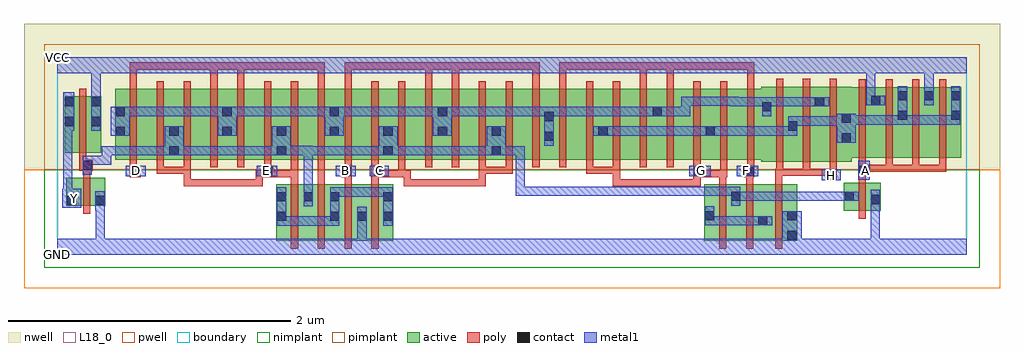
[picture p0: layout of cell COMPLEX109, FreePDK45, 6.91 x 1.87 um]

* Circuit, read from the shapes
.subckt COMPLEX109 A B C D E F G GND H VCC Y
M1 GND n1 Y VSUBS nfet w=0.2u l=0.05u
M2 n1 E n2 VSUBS nfet w=0.4u l=0.05u
M3 n2 D n1 VSUBS nfet w=0.4u l=0.05u
M4 GND B n2 VSUBS nfet w=0.4u l=0.05u
M5 n2 C GND VSUBS nfet w=0.4u l=0.05u
M6 n1 G n3 VSUBS nfet w=0.4u l=0.05u
M7 n3 F n1 VSUBS nfet w=0.4u l=0.05u
M8 GND H n3 VSUBS nfet w=0.4u l=0.05u
M9 GND A n1 VSUBS nfet w=0.2u l=0.05u
M10 VCC n1 Y n4 pfet w=0.4u l=0.05u
M11 n5 D n6 n4 pfet w=0.5u l=0.05u
M12 n1 E n5 n4 pfet w=0.5u l=0.05u
M13 n7 E n1 n4 pfet w=0.5u l=0.05u
M14 n6 D n7 n4 pfet w=0.5u l=0.05u
M15 n8 D n6 n4 pfet w=0.5u l=0.05u
M16 n1 E n8 n4 pfet w=0.5u l=0.05u
M17 n9 E n1 n4 pfet w=0.5u l=0.05u
M18 n6 D n9 n4 pfet w=0.5u l=0.05u
M19 n10 B n6 n4 pfet w=0.5u l=0.05u
M20 n1 C n10 n4 pfet w=0.5u l=0.05u
M21 n11 C n1 n4 pfet w=0.5u l=0.05u
M22 n6 B n11 n4 pfet w=0.5u l=0.05u
M23 n12 B n6 n4 pfet w=0.5u l=0.05u
M24 n1 C n12 n4 pfet w=0.5u l=0.05u
M25 n13 C n1 n4 pfet w=0.5u l=0.05u
M26 n6 B n13 n4 pfet w=0.5u l=0.05u
M27 n14 F n6 n4 pfet w=0.5u l=0.05u
M28 n15 G n14 n4 pfet w=0.5u l=0.05u
M29 n16 G n15 n4 pfet w=0.5u l=0.05u
M30 n6 F n16 n4 pfet w=0.5u l=0.05u
M31 n17 F n6 n4 pfet w=0.5u l=0.05u
M32 n15 G n17 n4 pfet w=0.5u l=0.05u
M33 n18 G n15 n4 pfet w=0.5u l=0.05u
M34 n6 F n18 n4 pfet w=0.5u l=0.05u
M35 n15 H n6 n4 pfet w=0.532u l=0.05u m=3
M36 VCC A n15 n4 pfet w=0.5u l=0.05u m=4
.ends

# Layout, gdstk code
import gdstk
lib = gdstk.Library(unit=1e-6, precision=1e-09)
def R(c, l, rs):  # rectangles x0, y0, x1, y1
    for r in rs: c.add(gdstk.rectangle(r[:2], r[2:], *l))
def A(c, l, x, y, w, h, nx, ny, dx, dy):  # array of equal rectangles
    R(c, l, [(x+i*dx, y+j*dy, x+i*dx+w, y+j*dy+h) for i in range(nx) for j in range(ny)])
active = (1, 0)
pwell = (2, 0)
nwell = (3, 0)
nimplant = (4, 0)
pimplant = (5, 0)
poly = (9, 0)
contact = (10, 0)
metal1 = (11, 0)
L18_0 = (18, 0)
boundary = (235, 0)

complex109 = lib.new_cell('COMPLEX109')
R(complex109, active, [(1.55,0.1,1.815,0.5), (1.74,0.1,2.002,0.5), (1.927,0.1,2.195,0.5), (2.12,0.1,2.38,0.5), (2.12,0.1,2.195,0.492), (4.582,0.1,4.842,0.5), (4.767,0.1,5.032,0.5), (4.957,0.1,5.24,0.5), (5.165,0.1,5.24,0.5), (1.55,0.147,1.625,0.5), (1.74,0.147,1.815,0.5), (1.927,0.147,2.002,0.492), (2.305,0.147,2.38,0.5), (4.582,0.147,4.657,0.5), (4.767,0.147,4.842,0.492), (4.957,0.147,5.032,0.492), (5.57,0.312,5.83,0.512), (0.065,0.347,0.14,0.547), (0.065,0.347,0.34,0.547), (0.265,0.347,0.34,0.547), (5.57,0.347,5.645,0.512), (5.755,0.347,5.83,0.512), (4.985,0.66,5.245,1.192), (5.17,0.66,5.435,1.192), (5.17,0.66,5.245,1.07), (5.36,0.66,5.625,1.192), (5.36,0.66,5.435,1.19), (0.41,0.675,0.635,1.175), (0.41,0.675,0.485,1.157), (0.635,0.675,0.865,1.175), (0.79,0.675,0.865,1.07), (0.79,0.675,1.015,1.175), (1.015,0.675,1.24,1.175), (1.165,0.675,1.395,1.175), (1.165,0.675,1.24,1.157), (1.395,0.675,1.625,1.175), (1.55,0.675,1.625,1.07), (1.55,0.675,1.775,1.175), (1.775,0.675,2,1.175), (1.925,0.675,2.155,1.175), (2.155,0.675,2.38,1.175), (2.305,0.675,2.535,1.175), (2.305,0.675,2.38,1.07), (2.535,0.675,2.765,1.175), (2.69,0.675,2.915,1.175), (2.69,0.675,2.765,1.157), (2.915,0.675,3.145,1.175), (3.07,0.675,3.145,1.07), (3.07,0.675,3.295,1.175), (3.295,0.675,3.52,1.175), (3.445,0.675,3.675,1.175), (3.445,0.675,3.52,1.157), (3.675,0.675,3.902,1.175), (3.827,0.675,3.902,1.07), (3.827,0.675,4.055,1.175), (4.055,0.675,4.285,1.175), (4.21,0.675,4.435,1.175), (4.21,0.675,4.285,1.157), (4.435,0.675,4.66,1.175), (4.585,0.675,4.815,1.175), (4.585,0.675,4.66,1.07), (4.815,0.675,5.06,1.175), (5.55,0.687,5.832,1.187), (5.55,0.687,5.625,1.157), (5.757,0.687,6.022,1.187), (5.757,0.687,5.832,1.187), (5.947,0.687,6.21,1.187), (5.947,0.687,6.022,1.187), (6.135,0.687,6.4,1.187), (6.325,0.687,6.4,1.165), (0.052,0.722,0.127,1.122), (0.052,0.722,0.312,1.122), (0.237,0.722,0.312,1.122), (4.985,0.775,5.06,1.167), (1.925,0.802,2,1.167), (6.135,0.807,6.21,1.165)])
R(complex109, pwell, [(-0.235,-0.235,6.675,0.602)])
R(complex109, nwell, [(-0.235,0.602,6.675,1.635)])
R(complex109, nimplant, [(-0.09,-0.09,6.53,0.602)])
R(complex109, pimplant, [(-0.09,0.602,6.53,1.49)])
A(complex109, poly, 1.655, 0.045, 0.05, 0.51, 4, 1, 0.19, 0)
A(complex109, poly, 1.655, 0.505, 0.05, 0.095, 4, 1, 0.19, 0)
A(complex109, poly, 5.09, 0.56, 0.05, 0.095, 3, 1, 0.19, 0)
A(complex109, poly, 0.515, 0.575, 0.05, 0.095, 3, 1, 0.19, 0)
A(complex109, poly, 5.675, 0.587, 0.05, 0.095, 4, 1, 0.19, 0)
A(complex109, poly, 5.09, 0.605, 0.05, 0.642, 3, 1, 0.19, 0)
A(complex109, poly, 0.515, 0.62, 0.05, 0.61, 24, 1, 0.19, 0)
A(complex109, poly, 5.675, 0.632, 0.05, 0.61, 4, 1, 0.19, 0)
R(complex109, poly, [(4.687,0.045,4.737,0.555), (4.877,0.045,4.927,0.555), (5.085,0.045,5.135,0.555), (5.675,0.257,5.725,0.567), (0.185,0.292,0.235,0.602), (0.895,0.487,1.135,0.537), (0.895,0.487,0.945,0.625), (1.085,0.487,1.135,0.537), (1.085,0.487,1.135,0.537), (1.085,0.487,1.135,0.537), (1.085,0.487,1.267,0.537), (1.217,0.487,1.267,0.537), (1.217,0.487,1.267,0.537), (1.217,0.487,1.267,0.537), (1.217,0.487,1.457,0.537), (1.407,0.487,1.457,0.6), (2.452,0.487,2.502,0.6), (2.452,0.487,2.712,0.537), (2.662,0.487,2.712,0.537), (2.662,0.487,2.77,0.537), (2.72,0.487,2.77,0.537), (2.72,0.487,2.902,0.537), (2.852,0.487,2.902,0.537), (2.852,0.487,2.902,0.537), (2.852,0.487,2.902,0.537), (2.852,0.487,3.035,0.537), (2.985,0.487,3.035,0.625), (3.935,0.487,3.985,0.537), (3.935,0.487,3.985,0.537), (3.935,0.487,4.117,0.537), (3.935,0.487,3.985,0.625), (4.067,0.487,4.117,0.537), (4.067,0.487,4.307,0.537), (4.257,0.487,4.307,0.537), (4.257,0.487,4.307,0.537), (4.257,0.487,4.307,0.537), (4.257,0.487,4.555,0.537), (4.505,0.487,4.555,0.6), (4.687,0.505,4.737,0.6), (4.877,0.505,4.927,0.6), (5.085,0.505,5.135,0.61), (5.675,0.517,5.725,0.612), (5.442,0.535,5.52,0.61), (0.515,0.55,0.59,0.625), (1.407,0.55,1.502,0.6), (1.452,0.55,1.53,0.625), (1.48,0.55,1.59,0.6), (1.54,0.55,1.59,0.6), (1.54,0.55,1.705,0.6), (1.655,0.55,1.705,0.6), (1.655,0.55,1.705,0.67), (1.845,0.55,1.895,0.6), (1.845,0.55,1.895,0.67), (2.01,0.55,2.085,0.625), (2.225,0.55,2.317,0.625), (2.267,0.55,2.317,0.6), (2.267,0.55,2.317,0.6), (2.267,0.55,2.465,0.6), (2.415,0.55,2.465,0.6), (2.415,0.55,2.465,0.67), (2.415,0.55,2.502,0.6), (4.505,0.55,4.555,0.6), (4.505,0.55,4.58,0.625), (4.53,0.55,4.737,0.6), (4.687,0.55,4.737,0.6), (4.687,0.55,4.737,0.6), (4.687,0.55,4.745,0.6), (4.695,0.55,4.745,0.67), (4.86,0.55,4.935,0.625), (0.185,0.552,0.235,0.647), (5.085,0.56,5.14,0.61), (5.09,0.56,5.14,0.61), (5.09,0.56,5.14,0.61), (5.09,0.56,5.33,0.61), (5.28,0.56,5.33,0.61), (5.28,0.56,5.33,0.61), (5.28,0.56,5.33,0.61), (5.28,0.56,5.492,0.61), (5.675,0.562,5.75,0.637), (0.705,0.575,0.755,0.625), (0.705,0.575,0.755,0.625), (0.705,0.575,0.755,0.625), (0.705,0.575,0.945,0.625), (1.465,0.575,1.515,0.67), (2.035,0.575,2.085,0.67), (2.225,0.575,2.275,0.67), (2.985,0.575,3.035,0.67), (2.985,0.575,3.225,0.625), (3.175,0.575,3.225,0.67), (3.175,0.575,3.225,0.625), (3.175,0.575,3.225,0.625), (3.175,0.575,3.225,0.625), (3.745,0.575,3.795,0.67), (3.745,0.575,3.795,0.625), (3.745,0.575,3.795,0.625), (3.745,0.575,3.795,0.625), (3.745,0.575,3.985,0.625), (3.935,0.575,3.985,0.67), (4.505,0.575,4.555,0.67), (4.885,0.575,4.935,0.67), (5.7,0.587,5.915,0.637), (5.865,0.587,5.915,0.637), (5.865,0.587,5.915,0.637), (5.865,0.587,5.915,0.637), (5.865,0.587,6.105,0.637), (6.055,0.587,6.105,0.637), (6.055,0.587,6.105,0.637), (6.055,0.587,6.105,0.637), (6.055,0.587,6.295,0.637), (6.245,0.587,6.295,0.637), (6.245,0.587,6.295,0.637), (6.245,0.587,6.295,0.637), (0.157,0.597,0.25,0.672), (0.157,0.622,0.207,0.717), (0.157,0.667,0.207,1.177), (0.515,1.18,0.565,1.362), (1.085,1.18,1.135,1.362), (1.275,1.18,1.325,1.362), (1.845,1.18,1.895,1.362), (2.035,1.18,2.085,1.362), (2.605,1.18,2.655,1.362), (2.795,1.18,2.845,1.362), (3.365,1.18,3.415,1.362), (3.555,1.18,3.605,1.362), (4.125,1.18,4.175,1.362), (4.315,1.18,4.365,1.362), (4.885,1.18,4.935,1.362), (0.515,1.312,0.565,1.362), (0.515,1.312,0.565,1.362), (0.515,1.312,0.565,1.362), (0.515,1.312,0.722,1.362), (0.672,1.312,0.722,1.362), (0.672,1.312,0.722,1.362), (0.672,1.312,0.722,1.362), (0.672,1.312,1.002,1.362), (0.952,1.312,1.002,1.362), (0.952,1.312,1.002,1.362), (0.952,1.312,1.002,1.362), (0.952,1.312,1.135,1.362), (1.085,1.312,1.135,1.362), (1.085,1.312,1.267,1.362), (1.217,1.312,1.267,1.362), (1.217,1.312,1.325,1.362), (1.275,1.312,1.325,1.362), (1.275,1.312,1.4,1.362), (1.35,1.312,1.4,1.362), (1.35,1.312,1.572,1.362), (1.522,1.312,1.572,1.362), (1.522,1.312,1.59,1.362), (1.54,1.312,1.59,1.362), (1.54,1.312,1.705,1.362), (1.655,1.312,1.705,1.362), (1.655,1.312,1.895,1.362), (1.845,1.312,1.895,1.362), (1.845,1.312,1.895,1.362), (1.845,1.312,1.895,1.362), (2.035,1.312,2.085,1.362), (2.035,1.312,2.085,1.362), (2.035,1.312,2.085,1.362), (2.035,1.312,2.332,1.362), (2.282,1.312,2.332,1.362), (2.282,1.312,2.332,1.362), (2.282,1.312,2.332,1.362), (2.282,1.312,2.465,1.362), (2.415,1.312,2.465,1.362), (2.415,1.312,2.637,1.362), (2.587,1.312,2.637,1.362), (2.587,1.312,2.655,1.362), (2.605,1.312,2.655,1.362), (2.605,1.312,2.77,1.362), (2.72,1.312,2.77,1.362), (2.72,1.312,2.845,1.362), (2.795,1.312,2.845,1.362), (2.795,1.312,2.96,1.362), (2.91,1.312,2.96,1.362), (2.91,1.312,3.092,1.362), (3.042,1.312,3.092,1.362), (3.042,1.312,3.092,1.362), (3.042,1.312,3.092,1.362), (3.042,1.312,3.225,1.362), (3.175,1.312,3.225,1.362), (3.175,1.312,3.415,1.362), (3.365,1.312,3.415,1.362), (3.365,1.312,3.415,1.362), (3.365,1.312,3.415,1.362), (3.555,1.312,3.605,1.362), (3.555,1.312,3.605,1.362), (3.555,1.312,3.605,1.362), (3.555,1.312,3.795,1.362), (3.745,1.312,3.795,1.362), (3.745,1.312,3.795,1.362), (3.745,1.312,3.795,1.362), (3.745,1.312,3.927,1.362), (3.877,1.312,3.927,1.362), (3.877,1.312,3.927,1.362), (3.877,1.312,3.927,1.362), (3.877,1.312,4.175,1.362), (4.125,1.312,4.175,1.362), (4.125,1.312,4.175,1.362), (4.125,1.312,4.175,1.362), (4.125,1.312,4.365,1.362), (4.315,1.312,4.365,1.362), (4.315,1.312,4.497,1.362), (4.447,1.312,4.497,1.362), (4.447,1.312,4.497,1.362), (4.447,1.312,4.497,1.362), (4.447,1.312,4.712,1.362), (4.662,1.312,4.712,1.362), (4.662,1.312,4.712,1.362), (4.662,1.312,4.712,1.362), (4.662,1.312,4.935,1.362), (4.885,1.312,4.935,1.362), (4.885,1.312,4.935,1.362), (4.885,1.312,4.935,1.362)])
R(complex109, contact, [(5.17,0.105,5.235,0.17), (4.962,0.21,5.027,0.275), (1.555,0.24,1.62,0.305), (1.932,0.24,1.997,0.305), (2.125,0.24,2.19,0.305), (2.31,0.24,2.375,0.305), (4.587,0.245,4.652,0.31), (5.17,0.245,5.235,0.31), (0.07,0.352,0.135,0.417), (0.27,0.352,0.335,0.417), (5.76,0.36,5.825,0.425), (1.555,0.38,1.62,0.445), (1.745,0.38,1.81,0.445), (1.932,0.38,1.997,0.445), (2.31,0.38,2.375,0.445), (4.772,0.382,4.837,0.447), (5.575,0.382,5.64,0.447), (5.447,0.54,5.512,0.605), (0.52,0.555,0.585,0.62), (1.457,0.555,1.522,0.62), (2.015,0.555,2.08,0.62), (2.247,0.555,2.312,0.62), (4.51,0.555,4.575,0.62), (4.865,0.555,4.93,0.62), (5.68,0.567,5.745,0.632), (0.18,0.602,0.245,0.667), (0.795,0.705,0.86,0.77), (1.555,0.705,1.62,0.77), (2.31,0.705,2.375,0.77), (3.075,0.705,3.14,0.77), (5.555,0.795,5.62,0.86), (3.45,0.807,3.515,0.872), (0.415,0.842,0.48,0.907), (1.17,0.842,1.235,0.907), (1.93,0.842,1.995,0.907), (2.695,0.842,2.76,0.907), (0.795,0.845,0.86,0.91), (1.555,0.845,1.62,0.91), (2.31,0.845,2.375,0.91), (3.075,0.845,3.14,0.91), (3.832,0.845,3.897,0.91), (4.59,0.845,4.655,0.91), (5.175,0.88,5.24,0.945), (0.057,0.912,0.122,0.977), (0.242,0.912,0.307,0.977), (5.555,0.935,5.62,1), (3.45,0.947,3.515,1.012), (5.952,0.955,6.017,1.02), (6.33,0.955,6.395,1.02), (0.415,0.982,0.48,1.047), (1.17,0.982,1.235,1.047), (1.93,0.982,1.995,1.047), (2.695,0.982,2.76,1.047), (4.215,0.982,4.28,1.047), (4.99,1.017,5.055,1.082), (0.057,1.052,0.122,1.117), (0.242,1.052,0.307,1.117), (5.365,1.052,5.43,1.117), (5.762,1.06,5.827,1.125), (5.952,1.095,6.017,1.16), (6.14,1.095,6.205,1.16), (6.33,1.095,6.395,1.16)])
R(complex109, metal1, [(0,0,6.44,0.115), (0.272,0.05,0.337,0.115), (0.272,0.05,0.337,0.115), (0.272,0.05,0.337,0.115), (0.272,0.05,0.337,0.115), (0.272,0.05,0.337,0.382), (2.125,0.05,2.19,0.27), (5.205,0.05,5.27,0.17), (5.76,0.05,5.825,0.115), (5.76,0.05,5.825,0.115), (5.76,0.05,5.825,0.39), (5.135,0.105,5.27,0.31), (1.555,0.205,1.622,0.48), (1.932,0.205,1.997,0.48), (2.125,0.205,2.19,0.34), (2.31,0.205,2.375,0.48), (1.557,0.207,1.622,0.272), (1.557,0.207,1.622,0.272), (1.557,0.207,1.792,0.272), (1.727,0.207,1.792,0.272), (1.727,0.207,1.792,0.272), (1.727,0.207,1.792,0.272), (1.727,0.207,1.997,0.272), (4.587,0.21,4.652,0.275), (4.587,0.21,4.652,0.275), (4.587,0.21,4.652,0.345), (4.587,0.21,4.827,0.275), (4.762,0.21,4.827,0.275), (4.762,0.21,4.827,0.275), (4.762,0.21,4.827,0.275), (4.762,0.21,4.992,0.275), (4.927,0.21,5.062,0.275), (0.27,0.317,0.337,0.452), (5.76,0.325,5.825,0.39), (5.76,0.325,5.825,0.39), (5.76,0.325,5.825,0.46), (0.035,0.332,0.17,0.467), (1.745,0.345,1.81,0.48), (4.772,0.347,4.837,0.482), (4.772,0.382,4.837,0.447), (4.772,0.382,4.837,0.447), (4.772,0.382,5.055,0.447), (4.99,0.382,5.055,0.447), (4.99,0.382,5.055,0.447), (4.99,0.382,5.055,0.447), (4.99,0.382,5.24,0.447), (5.175,0.382,5.24,0.447), (5.175,0.382,5.24,0.447), (5.175,0.382,5.24,0.447), (5.175,0.382,5.407,0.447), (5.342,0.382,5.407,0.447), (5.342,0.382,5.407,0.447), (5.342,0.382,5.407,0.447), (5.342,0.382,5.605,0.447), (5.54,0.382,5.675,0.447), (0.042,0.402,0.107,0.942), (1.932,0.412,1.997,0.477), (1.932,0.412,1.997,0.477), (1.932,0.412,2.202,0.477), (2.137,0.412,2.202,0.477), (2.137,0.412,2.202,0.477), (2.137,0.412,2.202,0.477), (2.137,0.412,2.375,0.477), (1.745,0.415,1.81,0.48), (1.745,0.415,1.81,0.48), (1.745,0.415,1.81,0.77), (3.247,0.417,3.312,0.482), (3.247,0.417,3.45,0.482), (3.247,0.417,3.312,0.77), (3.385,0.417,3.45,0.482), (3.385,0.417,3.45,0.482), (3.385,0.417,3.45,0.482), (3.385,0.417,3.45,0.482), (3.385,0.417,3.45,0.482), (3.385,0.417,3.652,0.482), (3.587,0.417,3.652,0.482), (3.587,0.417,3.652,0.482), (3.587,0.417,3.652,0.482), (3.587,0.417,3.79,0.482), (3.725,0.417,3.79,0.482), (3.725,0.417,3.927,0.482), (3.862,0.417,3.927,0.482), (3.862,0.417,3.927,0.482), (3.862,0.417,3.927,0.482), (3.862,0.417,4.07,0.482), (4.005,0.417,4.07,0.482), (4.005,0.417,4.07,0.482), (4.005,0.417,4.07,0.482), (4.005,0.417,4.317,0.482), (4.252,0.417,4.317,0.482), (4.252,0.417,4.345,0.482), (4.28,0.417,4.345,0.482), (4.28,0.417,4.482,0.482), (4.417,0.417,4.482,0.482), (4.417,0.417,4.482,0.482), (4.417,0.417,4.482,0.482), (4.417,0.417,4.69,0.482), (4.625,0.417,4.69,0.482), (4.625,0.417,4.69,0.482), (4.625,0.417,4.69,0.482), (4.625,0.417,4.837,0.482), (5.412,0.527,5.547,0.605), (5.672,0.532,5.752,0.667), (0.485,0.555,0.627,0.632), (1.412,0.555,1.557,0.632), (1.972,0.555,2.115,0.632), (2.212,0.555,2.347,0.632), (4.475,0.555,4.627,0.632), (4.812,0.555,4.965,0.632), (0.18,0.567,0.245,0.702), (0.18,0.637,0.382,0.702), (0.317,0.637,0.382,0.702), (0.317,0.637,0.382,0.77), (0.317,0.705,0.382,0.77), (0.317,0.705,0.382,0.77), (0.317,0.705,0.382,0.77), (0.317,0.705,0.652,0.77), (0.587,0.705,0.652,0.77), (0.587,0.705,0.652,0.77), (0.587,0.705,0.652,0.77), (0.587,0.705,0.825,0.77), (0.76,0.705,0.825,0.77), (0.76,0.705,0.825,0.77), (0.76,0.705,0.895,0.91), (0.83,0.705,0.995,0.77), (0.93,0.705,0.995,0.77), (0.93,0.705,1.032,0.77), (0.967,0.705,1.032,0.77), (0.967,0.705,1.132,0.77), (1.067,0.705,1.132,0.77), (1.067,0.705,1.27,0.77), (1.205,0.705,1.27,0.77), (1.205,0.705,1.27,0.77), (1.205,0.705,1.27,0.77), (1.205,0.705,1.407,0.77), (1.342,0.705,1.407,0.77), (1.342,0.705,1.407,0.77), (1.342,0.705,1.407,0.77), (1.342,0.705,1.585,0.77), (1.52,0.705,1.655,0.91), (1.745,0.705,1.81,0.77), (1.745,0.705,1.81,0.77), (1.745,0.705,1.947,0.77), (1.745,0.705,1.81,0.772), (1.882,0.705,1.947,0.77), (1.882,0.705,1.947,0.77), (1.882,0.705,1.947,0.77), (1.882,0.705,2.202,0.77), (2.137,0.705,2.202,0.77), (2.137,0.705,2.202,0.77), (2.137,0.705,2.202,0.77), (2.137,0.705,2.34,0.77), (2.275,0.705,2.41,0.91), (2.345,0.705,2.477,0.77), (2.412,0.705,2.477,0.77), (2.412,0.705,2.547,0.77), (2.482,0.705,2.547,0.77), (2.482,0.705,2.685,0.77), (2.62,0.705,2.685,0.77), (2.62,0.705,2.685,0.77), (2.62,0.705,2.685,0.77), (2.62,0.705,2.822,0.77), (2.757,0.705,2.822,0.77), (2.757,0.705,2.967,0.77), (2.902,0.705,2.967,0.77), (2.902,0.705,2.967,0.77), (2.902,0.705,2.967,0.77), (2.902,0.705,3.105,0.77), (3.04,0.705,3.175,0.91), (3.11,0.705,3.312,0.77), (3.247,0.705,3.312,0.77), (3.247,0.705,3.312,0.77), (3.247,0.705,3.312,0.77), (1.59,0.707,1.655,0.772), (1.59,0.707,1.655,0.772), (1.59,0.707,1.81,0.772), (3.45,0.772,3.515,1.047), (5.52,0.795,5.655,1), (0.38,0.842,0.515,1.047), (1.135,0.842,1.27,1.047), (1.895,0.842,2.03,1.047), (2.66,0.842,2.795,1.047), (3.797,0.845,3.932,0.91), (3.867,0.845,3.932,0.91), (3.867,0.845,3.932,0.91), (3.867,0.845,4.07,0.91), (4.005,0.845,4.07,0.91), (4.005,0.845,4.207,0.91), (4.142,0.845,4.207,0.91), (4.142,0.845,4.207,0.91), (4.142,0.845,4.207,0.91), (4.142,0.845,4.345,0.91), (4.28,0.845,4.345,0.91), (4.28,0.845,4.455,0.91), (4.39,0.845,4.455,0.91), (4.39,0.845,4.515,0.91), (4.45,0.845,4.515,0.91), (4.45,0.845,4.62,0.91), (4.555,0.845,4.69,0.91), (4.625,0.845,4.69,0.91), (4.625,0.845,4.69,0.91), (4.625,0.845,4.855,0.91), (4.79,0.845,4.855,0.91), (4.79,0.845,4.855,0.91), (4.79,0.845,4.855,0.91), (4.79,0.845,5.062,0.91), (4.997,0.845,5.062,0.91), (4.997,0.845,5.062,0.91), (4.997,0.845,5.062,0.91), (4.997,0.845,5.24,0.91), (5.175,0.845,5.24,0.98), (0.042,0.877,0.122,1.152), (0.042,0.877,0.107,0.972), (0.242,0.877,0.307,1.152), (0.042,0.907,0.107,0.972), (5.175,0.915,5.24,0.98), (5.175,0.915,5.24,0.98), (5.175,0.915,5.377,0.98), (5.312,0.915,5.377,0.98), (5.312,0.915,5.377,0.98), (5.312,0.915,5.377,0.98), (5.312,0.915,5.585,0.98), (5.952,0.92,6.017,1.195), (6.33,0.92,6.395,1.195), (5.59,0.922,5.655,0.987), (5.59,0.922,5.655,0.987), (5.59,0.922,5.88,0.987), (5.815,0.922,5.88,0.987), (5.815,0.922,5.88,0.987), (5.815,0.922,5.88,0.987), (5.815,0.922,6.017,0.987), (5.952,0.922,6.017,0.987), (5.952,0.922,6.017,0.987), (5.952,0.922,6.155,0.987), (6.09,0.922,6.155,0.987), (6.09,0.922,6.395,0.987), (6.33,0.922,6.395,0.987), (6.33,0.922,6.395,0.987), (0.45,0.982,0.667,1.047), (0.602,0.982,0.667,1.047), (0.602,0.982,0.667,1.047), (0.602,0.982,0.667,1.047), (0.602,0.982,0.857,1.047), (0.792,0.982,0.857,1.047), (0.792,0.982,0.857,1.047), (0.792,0.982,0.857,1.047), (0.792,0.982,0.995,1.047), (0.93,0.982,0.995,1.047), (0.93,0.982,1.032,1.047), (0.967,0.982,1.032,1.047), (0.967,0.982,1.132,1.047), (1.067,0.982,1.132,1.047), (1.067,0.982,1.2,1.047), (1.205,0.982,1.27,1.047), (1.205,0.982,1.27,1.047), (1.205,0.982,1.447,1.047), (1.382,0.982,1.447,1.047), (1.382,0.982,1.447,1.047), (1.382,0.982,1.447,1.047), (1.382,0.982,1.655,1.047), (1.59,0.982,1.655,1.047), (1.59,0.982,1.655,1.047), (1.59,0.982,1.655,1.047), (1.59,0.982,1.792,1.047), (1.727,0.982,1.792,1.047), (1.727,0.982,1.792,1.047), (1.727,0.982,1.792,1.047), (1.727,0.982,1.96,1.047), (1.965,0.982,2.03,1.047), (1.965,0.982,2.03,1.047), (1.965,0.982,2.167,1.047), (2.102,0.982,2.167,1.047), (2.102,0.982,2.34,1.047), (2.275,0.982,2.34,1.047), (2.275,0.982,2.34,1.047), (2.275,0.982,2.34,1.047), (2.275,0.982,2.547,1.047), (2.482,0.982,2.547,1.047), (2.482,0.982,2.547,1.047), (2.482,0.982,2.547,1.047), (2.482,0.982,2.685,1.047), (2.62,0.982,2.685,1.047), (2.62,0.982,2.725,1.047), (2.73,0.982,2.822,1.047), (2.757,0.982,2.822,1.047), (2.757,0.982,2.96,1.047), (2.895,0.982,2.96,1.047), (2.895,0.982,2.96,1.047), (2.895,0.982,2.96,1.047), (2.895,0.982,3.175,1.047), (3.11,0.982,3.175,1.047), (3.11,0.982,3.175,1.047), (3.11,0.982,3.175,1.047), (3.11,0.982,3.312,1.047), (3.247,0.982,3.312,1.047), (3.247,0.982,3.515,1.047), (3.45,0.982,3.515,1.047), (3.45,0.982,3.515,1.047), (3.45,0.982,3.652,1.047), (3.587,0.982,3.652,1.047), (3.587,0.982,3.652,1.047), (3.587,0.982,3.652,1.047), (3.587,0.982,3.79,1.047), (3.725,0.982,3.79,1.047), (3.725,0.982,3.927,1.047), (3.862,0.982,3.927,1.047), (3.862,0.982,3.927,1.047), (3.862,0.982,3.927,1.047), (3.862,0.982,4.07,1.047), (4.005,0.982,4.07,1.047), (4.005,0.982,4.07,1.047), (4.005,0.982,4.07,1.047), (4.005,0.982,4.245,1.047), (4.18,0.982,4.315,1.047), (4.25,0.982,4.345,1.047), (4.28,0.982,4.345,1.047), (4.28,0.982,4.482,1.047), (4.417,0.982,4.482,1.12), (4.99,0.982,5.055,1.117), (4.762,1.052,5.055,1.117), (4.762,1.052,4.827,1.12), (4.99,1.052,5.055,1.117), (4.99,1.052,5.055,1.117), (4.99,1.052,5.24,1.117), (5.175,1.052,5.24,1.117), (5.175,1.052,5.24,1.117), (5.175,1.052,5.24,1.117), (5.175,1.052,5.395,1.117), (5.33,1.052,5.465,1.117), (4.417,1.055,4.482,1.12), (4.417,1.055,4.482,1.12), (4.417,1.055,4.652,1.12), (4.587,1.055,4.652,1.12), (4.587,1.055,4.652,1.12), (4.587,1.055,4.652,1.12), (4.587,1.055,4.827,1.12), (4.762,1.055,4.827,1.12), (4.762,1.055,4.827,1.12), (5.727,1.06,5.792,1.35), (5.727,1.06,5.862,1.125), (6.14,1.06,6.205,1.195), (0.242,1.087,0.307,1.35), (6.14,1.13,6.205,1.35), (0,1.285,6.44,1.4), (0.242,1.285,0.307,1.35), (0.242,1.285,0.307,1.35), (5.727,1.285,5.792,1.35), (5.727,1.285,5.792,1.35), (6.14,1.285,6.205,1.35), (6.14,1.285,6.205,1.35)])
R(complex109, L18_0, [(0,0,6.44,0.115), (0.272,0.05,0.337,0.115), (0.272,0.05,0.337,0.115), (0.272,0.05,0.337,0.115), (0.272,0.05,0.337,0.115), (0.272,0.05,0.337,0.382), (2.125,0.05,2.19,0.27), (5.205,0.05,5.27,0.17), (5.76,0.05,5.825,0.115), (5.76,0.05,5.825,0.115), (5.76,0.05,5.825,0.39), (5.135,0.105,5.27,0.31), (2.125,0.205,2.19,0.34), (0.27,0.317,0.337,0.452), (5.76,0.325,5.825,0.39), (5.76,0.325,5.825,0.39), (5.76,0.325,5.825,0.46), (0.035,0.332,0.17,0.467), (0.087,0.367,0.152,0.432), (0.042,0.402,0.107,0.942), (5.412,0.527,5.547,0.605), (5.447,0.527,5.512,0.592), (5.672,0.532,5.752,0.667), (0.485,0.555,0.627,0.632), (1.412,0.555,1.557,0.632), (1.972,0.555,2.115,0.632), (2.212,0.555,2.347,0.632), (4.475,0.555,4.627,0.632), (4.812,0.555,4.965,0.632), (0.527,0.567,0.592,0.632), (1.447,0.567,1.512,0.632), (2.007,0.567,2.072,0.632), (2.247,0.567,2.312,0.632), (4.527,0.567,4.592,0.632), (4.847,0.567,4.912,0.632), (5.687,0.567,5.752,0.632), (0.042,0.877,0.107,0.972), (0.042,0.877,0.122,1.152), (0.242,0.877,0.307,1.152), (0.042,0.907,0.107,0.972), (5.727,1.06,5.862,1.125), (5.727,1.06,5.792,1.35), (6.14,1.06,6.205,1.195), (0.242,1.087,0.307,1.35), (6.14,1.13,6.205,1.35), (0,1.285,6.44,1.4), (0.242,1.285,0.307,1.35), (0.242,1.285,0.307,1.35), (5.727,1.285,5.792,1.35), (5.727,1.285,5.792,1.35), (6.14,1.285,6.205,1.35), (6.14,1.285,6.205,1.35)])
R(complex109, boundary, [(0,0,6.44,1.4)])
complex109.add(gdstk.Label('A', (5.72,0.6), layer=11, texttype=0))
complex109.add(gdstk.Label('B', (2.04,0.6), layer=11, texttype=0))
complex109.add(gdstk.Label('C', (2.28,0.6), layer=11, texttype=0))
complex109.add(gdstk.Label('D', (0.56,0.6), layer=11, texttype=0))
complex109.add(gdstk.Label('E', (1.48,0.6), layer=11, texttype=0))
complex109.add(gdstk.Label('F', (4.88,0.6), layer=11, texttype=0))
complex109.add(gdstk.Label('G', (4.56,0.6), layer=11, texttype=0))
complex109.add(gdstk.Label('H', (5.48,0.56), layer=11, texttype=0))
complex109.add(gdstk.Label('Y', (0.12,0.4), layer=11, texttype=0))
complex109.add(gdstk.Label('VCC', (0,1.4), layer=11, texttype=0))
complex109.add(gdstk.Label('GND', (0,0), layer=11, texttype=0))

lib.write_gds('COMPLEX109.gds')
